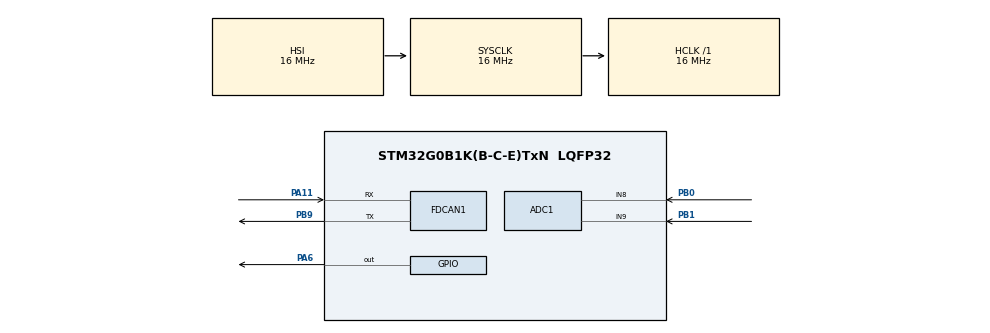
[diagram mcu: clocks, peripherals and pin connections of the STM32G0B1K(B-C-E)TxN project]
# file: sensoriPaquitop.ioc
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ADC1.Channel-0\#ChannelRegularConversion=ADC_CHANNEL_9
ADC1.NbrOfConversionFlag=1
ADC1.Rank-0\#ChannelRegularConversion=1
ADC1.SamplingTime-0\#ChannelRegularConversion=ADC_SAMPLINGTIME_COMMON_1
ADC1.SelectedChannel=ADC_CHANNEL_8|ADC_CHANNEL_9
ADC1.master=1
FDCAN1.CalculateBaudRateNominal=125000
FDCAN1.CalculateTimeBitNominal=8000
FDCAN1.CalculateTimeQuantumNominal=500.0
FDCAN1.DataPrescaler=1
FDCAN1.NominalPrescaler=8
FDCAN1.NominalTimeSeg1=13
FDCAN1.NominalTimeSeg2=2
Mcu.Family=STM32G0
Mcu.Name=STM32G0B1K(B-C-E)TxN
Mcu.Package=LQFP32
NVIC.TIM16_FDCAN_IT0_IRQn=true\:0\:0\:false\:false\:true\:true\:true\:true
NVIC.TIM17_FDCAN_IT1_IRQn=true\:0\:0\:false\:false\:true\:true\:true\:true
PA11\ [PA9].Mode=FDCAN_Activate
PA11\ [PA9].Signal=FDCAN1_RX
PA13.Mode=Serial_Wire
PA13.Signal=SYS_SWDIO
PA14-BOOT0.Mode=Serial_Wire
PA14-BOOT0.Signal=SYS_SWCLK
PA6.Signal=GPIO_Output
PB0.Mode=IN8
PB0.Signal=ADC1_IN8
PB1.Mode=IN9
PB1.Signal=ADC1_IN9
PB9.Mode=FDCAN_Activate
PB9.Signal=FDCAN1_TX
PC14-OSC32_IN\ (PC14).Mode=LSE-External-Oscillator
PC14-OSC32_IN\ (PC14).Signal=RCC_OSC32_IN
PC15-OSC32_OUT\ (PC15).Mode=LSE-External-Oscillator
PC15-OSC32_OUT\ (PC15).Signal=RCC_OSC32_OUT
ProjectManager.HeapSize=0x200
ProjectManager.StackSize=0x400
ProjectManager.TargetToolchain=STM32CubeIDE
RCC.ADCFreq_Value=16000000
RCC.AHBFreq_Value=16000000
RCC.CortexFreq_Value=16000000
RCC.EXTERNAL_CLOCK_VALUE=48000
RCC.HCLKFreq_Value=16000000
RCC.HSE_VALUE=8000000
RCC.HSI48_VALUE=48000000
RCC.HSI_VALUE=16000000
RCC.SYSCLKFreq_VALUE=16000000
RCC.USBFreq_Value=48000000
RCC.VCOOutputFreq_Value=128000000
board=custom

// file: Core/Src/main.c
/* USER CODE BEGIN Header */
/**
 ******************************************************************************
 * @file           : main.c
 * @brief          : Main program body
 ******************************************************************************
 * @attention
 *
 * Copyright (c) 2023 STMicroelectronics.
 * All rights reserved.
 *
 * This software is licensed under terms that can be found in the LICENSE file
 * in the root directory of this software component.
 * If no LICENSE file comes with this software, it is provided AS-IS.
 *
 ******************************************************************************
 */
/* USER CODE END Header */
#include "main.h"

/* USER CODE BEGIN PD */
// can ID of the main board (receiver)
#define MAIN_ID       0xAA

// CAN commands
enum {
  SET_ID_CAN = 0x12,
  SET_THRESHOLD,
  DIST_REQUEST,
  ALARM_YELLOW,
  ALARM_RED,
  ALARM_LASER,
  DIST_ANS
};

#define EMA_ALPHA_LASER 0.5f
#define EMA_ALPHA_SONAR 0.8f
/* USER CODE END PD */

ADC_HandleTypeDef hadc1;
FDCAN_HandleTypeDef hfdcan1;

/* USER CODE BEGIN PV */

// Can Messages
FDCAN_TxHeaderTypeDef TxHeader;
uint8_t TxData[8];
FDCAN_RxHeaderTypeDef RxHeader;
uint8_t RxData[8];

// ADC config
ADC_ChannelConfTypeDef sConfig = { 0 };

// CAN ID of this board - - - - - - - - - - - - - - - - - - - - - - - - - - - - - - - - ONLY THING TO BE MODIFIED IN EACH BOARD
uint8_t myCanId = 0x01;

// thresholds
uint16_t yellowThreshold = 0, redThreshold = 0, laserThreshold = 4000;

// flag to activate sending of distance
uint8_t distRequested = 0;

// time
long alarmTime = -1;

// global variables
uint16_t laser, oldLaser, sonar, oldSonar, alarmTimeout = 2000;
uint8_t alarmSend;

/* USER CODE END PV */

void SystemClock_Config(void);
static void MX_GPIO_Init(void);
static void MX_ADC1_Init(void);
static void MX_FDCAN1_Init(void);

/* USER CODE BEGIN 0 */

/**
 * Callback function to receive CAN messages
 */
void HAL_FDCAN_RxFifo0Callback(FDCAN_HandleTypeDef *hfdcan, uint32_t RxFifo0ITs) {
	if ((RxFifo0ITs & FDCAN_IT_RX_FIFO0_NEW_MESSAGE) == RESET)
		return;
	/* Retrieve Rx messages from RX FIFO0 */
	if (HAL_FDCAN_GetRxMessage(hfdcan, FDCAN_RX_FIFO0, &RxHeader, RxData)
			!= HAL_OK)
		Error_Handler();

	/* We can handle only standard messages, not FD */
	if (RxHeader.IdType != FDCAN_STANDARD_ID)
		return;

	/* Data Parsing */
	if (RxData[0] == SET_THRESHOLD && RxHeader.DataLength == FDCAN_DLC_BYTES_8) { /* SET_THRESHOLD */
		yellowThreshold = RxData[1] << 8 | RxData[2];
		redThreshold = RxData[3] << 8 | RxData[4];
		laserThreshold = RxData[5] << 8 | RxData[6];
		alarmTimeout = RxData[7] * 20;
	} else if (RxHeader.Identifier == myCanId && RxData[0] == DIST_REQUEST && RxHeader.DataLength == FDCAN_DLC_BYTES_1) { /* DIST_REQUEST */
		distRequested = 1;
	}

}

/* USER CODE END 0 */

int main(void) {

	/* MCU Configuration--------------------------------------------------------*/

	/* Reset of all peripherals, Initializes the Flash interface and the Systick. */
	HAL_Init();

	/* Configure the system clock */
	SystemClock_Config();

	/* Initialize all configured peripherals */
	MX_GPIO_Init();
	MX_ADC1_Init();
	MX_FDCAN1_Init();
	/* USER CODE BEGIN 2 */

	// TxHeader configuration
	TxHeader.IdType = FDCAN_STANDARD_ID;
	TxHeader.TxFrameType = FDCAN_DATA_FRAME;
	TxHeader.ErrorStateIndicator = FDCAN_ESI_ACTIVE;
	TxHeader.BitRateSwitch = FDCAN_BRS_OFF;
	TxHeader.FDFormat = FDCAN_CLASSIC_CAN;
	TxHeader.TxEventFifoControl = FDCAN_NO_TX_EVENTS;
	TxHeader.MessageMarker = 0;
	TxHeader.Identifier = 20;

	// LED Blinking at startup
	for (uint8_t i = 0; i < 5; i++) {
		HAL_GPIO_WritePin(GPIOA, GPIO_PIN_6, GPIO_PIN_SET);
		HAL_Delay(200);
		HAL_GPIO_WritePin(GPIOA, GPIO_PIN_6, GPIO_PIN_RESET);
		HAL_Delay(300);
	}

	/* USER CODE END 2 */

	/* Infinite loop */
	/* USER CODE BEGIN WHILE */
	while (1) {

		// Alarm timeout check
		if (alarmTime != -1 && (HAL_GetTick() - alarmTime) >= alarmTimeout)
			alarmTime = -1;

		// Reading ADC for laser
		sConfig.Channel = ADC_CHANNEL_9;
		if (HAL_ADC_ConfigChannel(&hadc1, &sConfig) != HAL_OK) {
			Error_Handler();
		}

		HAL_ADC_Start(&hadc1);
		HAL_ADC_PollForConversion(&hadc1, 1);

		laser = HAL_ADC_GetValue(&hadc1);
		HAL_ADC_Stop(&hadc1);

		// EMA filtering for laser
		laser = laser * EMA_ALPHA_LASER + (1.0f-EMA_ALPHA_LASER) * oldLaser;
		oldLaser = laser;

		// Reading ADC for sonar
		sConfig.Channel = ADC_CHANNEL_8;
		if (HAL_ADC_ConfigChannel(&hadc1, &sConfig) != HAL_OK) {
			Error_Handler();
		}

		HAL_ADC_Start(&hadc1);
		HAL_ADC_PollForConversion(&hadc1, 1);
		sonar = HAL_ADC_GetValue(&hadc1);
		HAL_ADC_Stop(&hadc1);

		// EMA filtering for laser
		sonar = sonar * EMA_ALPHA_SONAR + (1.0f-EMA_ALPHA_SONAR) * oldSonar;
		oldSonar = sonar;

		// Alarm check
		if (alarmTime == -1) {
			alarmSend = 1;
			TxData[0] = myCanId;

			if (laser < laserThreshold) { /* Laser alarm */
				TxData[1] = ALARM_LASER;
				TxHeader.DataLength = FDCAN_DLC_BYTES_2;
			} else if (sonar < redThreshold) { /* RED alarm */
				TxData[1] = ALARM_RED;
				TxData[2] = sonar >> 8;
				TxData[3] = sonar;
				TxHeader.DataLength = FDCAN_DLC_BYTES_4;
			} else if (sonar < yellowThreshold){ /* YELLOW alarm */
				TxData[1] = ALARM_YELLOW;
				TxData[2] = sonar >> 8;
				TxData[3] = sonar;
				TxHeader.DataLength = FDCAN_DLC_BYTES_4;
			} else
				alarmSend = 0;

			if (alarmSend) {
				if (HAL_FDCAN_AddMessageToTxFifoQ(&hfdcan1, &TxHeader, TxData) != HAL_OK)
					Error_Handler();

				alarmTime = HAL_GetTick();
			}
		}

		/**
		 * If we received a distance request
		 * send requested data
		 */
		if (distRequested) {
			TxHeader.DataLength = FDCAN_DLC_BYTES_6;
			TxHeader.Identifier = MAIN_ID;
			TxData[0] = myCanId;
			TxData[1] = DIST_ANS;
			TxData[2] = laser >> 8;
			TxData[3] = laser;
			TxData[4] = sonar >> 8;
			TxData[5] = sonar;

			if (HAL_FDCAN_AddMessageToTxFifoQ(&hfdcan1, &TxHeader, TxData)
					!= HAL_OK)
				Error_Handler();

			distRequested = 0;
		}

		HAL_Delay(50);

		/* USER CODE END WHILE */

	}
}

void SystemClock_Config(void) {
	RCC_OscInitTypeDef RCC_OscInitStruct = { 0 };
	RCC_ClkInitTypeDef RCC_ClkInitStruct = { 0 };

	/** Configure the main internal regulator output voltage
	 */
	HAL_PWREx_ControlVoltageScaling(PWR_REGULATOR_VOLTAGE_SCALE1);

	/** Initializes the RCC Oscillators according to the specified parameters
	 * in the RCC_OscInitTypeDef structure.
	 */
	RCC_OscInitStruct.OscillatorType = RCC_OSCILLATORTYPE_HSI;
	RCC_OscInitStruct.HSIState = RCC_HSI_ON;
	RCC_OscInitStruct.HSIDiv = RCC_HSI_DIV1;
	RCC_OscInitStruct.HSICalibrationValue = RCC_HSICALIBRATION_DEFAULT;
	RCC_OscInitStruct.PLL.PLLState = RCC_PLL_NONE;
	if (HAL_RCC_OscConfig(&RCC_OscInitStruct) != HAL_OK) {
		Error_Handler();
	}

	/** Initializes the CPU, AHB and APB buses clocks
	 */
	RCC_ClkInitStruct.ClockType = RCC_CLOCKTYPE_HCLK | RCC_CLOCKTYPE_SYSCLK
			| RCC_CLOCKTYPE_PCLK1;
	RCC_ClkInitStruct.SYSCLKSource = RCC_SYSCLKSOURCE_HSI;
	RCC_ClkInitStruct.AHBCLKDivider = RCC_SYSCLK_DIV1;
	RCC_ClkInitStruct.APB1CLKDivider = RCC_HCLK_DIV1;

	if (HAL_RCC_ClockConfig(&RCC_ClkInitStruct, FLASH_LATENCY_0) != HAL_OK) {
		Error_Handler();
	}
}

static void MX_ADC1_Init(void) {

	/** Configure the global features of the ADC (Clock, Resolution, Data Alignment and number of conversion)
	 */
	hadc1.Instance = ADC1;
	hadc1.Init.ClockPrescaler = ADC_CLOCK_SYNC_PCLK_DIV2;
	hadc1.Init.Resolution = ADC_RESOLUTION_12B;
	hadc1.Init.DataAlign = ADC_DATAALIGN_RIGHT;
	hadc1.Init.ScanConvMode = ADC_SCAN_DISABLE;
	hadc1.Init.EOCSelection = ADC_EOC_SINGLE_CONV;
	hadc1.Init.LowPowerAutoWait = DISABLE;
	hadc1.Init.LowPowerAutoPowerOff = DISABLE;
	hadc1.Init.ContinuousConvMode = DISABLE;
	hadc1.Init.NbrOfConversion = 1;
	hadc1.Init.DiscontinuousConvMode = DISABLE;
	hadc1.Init.ExternalTrigConv = ADC_SOFTWARE_START;
	hadc1.Init.ExternalTrigConvEdge = ADC_EXTERNALTRIGCONVEDGE_NONE;
	hadc1.Init.DMAContinuousRequests = DISABLE;
	hadc1.Init.Overrun = ADC_OVR_DATA_PRESERVED;
	hadc1.Init.SamplingTimeCommon1 = ADC_SAMPLETIME_1CYCLE_5;
	hadc1.Init.SamplingTimeCommon2 = ADC_SAMPLETIME_1CYCLE_5;
	hadc1.Init.OversamplingMode = DISABLE;
	hadc1.Init.TriggerFrequencyMode = ADC_TRIGGER_FREQ_HIGH;
	if (HAL_ADC_Init(&hadc1) != HAL_OK) {
		Error_Handler();
	}

	/** Configure Regular Channel
	 */
	sConfig.Channel = ADC_CHANNEL_9;
	sConfig.Rank = ADC_REGULAR_RANK_1;
	sConfig.SamplingTime = ADC_SAMPLINGTIME_COMMON_1;
	if (HAL_ADC_ConfigChannel(&hadc1, &sConfig) != HAL_OK) {
		Error_Handler();
	}
	/* USER CODE BEGIN ADC1_Init 2 */

	// ADC calibration at startup
	HAL_ADCEx_Calibration_Start(&hadc1);

	/* USER CODE END ADC1_Init 2 */

}

static void MX_FDCAN1_Init(void) {

	hfdcan1.Instance = FDCAN1;
	hfdcan1.Init.ClockDivider = FDCAN_CLOCK_DIV1;
	hfdcan1.Init.FrameFormat = FDCAN_FRAME_CLASSIC;
	hfdcan1.Init.Mode = FDCAN_MODE_NORMAL;
	hfdcan1.Init.AutoRetransmission = DISABLE;
	hfdcan1.Init.TransmitPause = DISABLE;
	hfdcan1.Init.ProtocolException = DISABLE;
	hfdcan1.Init.NominalPrescaler = 8;
	hfdcan1.Init.NominalSyncJumpWidth = 1;
	hfdcan1.Init.NominalTimeSeg1 = 13;
	hfdcan1.Init.NominalTimeSeg2 = 2;
	hfdcan1.Init.DataPrescaler = 1;
	hfdcan1.Init.DataSyncJumpWidth = 1;
	hfdcan1.Init.DataTimeSeg1 = 1;
	hfdcan1.Init.DataTimeSeg2 = 1;
	hfdcan1.Init.StdFiltersNbr = 0;
	hfdcan1.Init.ExtFiltersNbr = 0;
	hfdcan1.Init.TxFifoQueueMode = FDCAN_TX_FIFO_OPERATION;
	if (HAL_FDCAN_Init(&hfdcan1) != HAL_OK) {
		Error_Handler();
	}
	/* USER CODE BEGIN FDCAN1_Init 2 */

	// start can
	if (HAL_FDCAN_Start(&hfdcan1) != HAL_OK) {
		Error_Handler();
	}
	// enable interrupt callback
	if (HAL_FDCAN_ActivateNotification(&hfdcan1, FDCAN_IT_RX_FIFO0_NEW_MESSAGE,
			0) != HAL_OK)
		Error_Handler();

	/* USER CODE END FDCAN1_Init 2 */

}

static void MX_GPIO_Init(void) {
	GPIO_InitTypeDef GPIO_InitStruct = { 0 };

	/* GPIO Ports Clock Enable */
	__HAL_RCC_GPIOB_CLK_ENABLE();
	__HAL_RCC_GPIOC_CLK_ENABLE();
	__HAL_RCC_GPIOA_CLK_ENABLE();

	/*Configure GPIO pin Output Level */
	HAL_GPIO_WritePin(GPIOA, GPIO_PIN_6, GPIO_PIN_RESET);

	/*Configure GPIO pin : PA6 */
	GPIO_InitStruct.Pin = GPIO_PIN_6;
	GPIO_InitStruct.Mode = GPIO_MODE_OUTPUT_PP;
	GPIO_InitStruct.Pull = GPIO_NOPULL;
	GPIO_InitStruct.Speed = GPIO_SPEED_FREQ_LOW;
	HAL_GPIO_Init(GPIOA, &GPIO_InitStruct);

}

void Error_Handler(void) {
	/* USER CODE BEGIN Error_Handler_Debug */
	/* User can add his own implementation to report the HAL error return state */
	//__disable_irq();
	while (1) {
		HAL_GPIO_WritePin(GPIOA, GPIO_PIN_6, GPIO_PIN_SET);
		HAL_Delay(1000);
		HAL_GPIO_WritePin(GPIOA, GPIO_PIN_6, GPIO_PIN_RESET);
		HAL_Delay(200);

	}
	/* USER CODE END Error_Handler_Debug */
}
